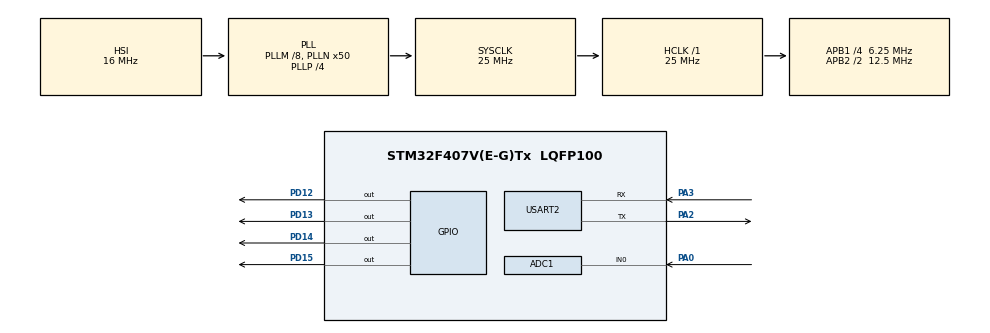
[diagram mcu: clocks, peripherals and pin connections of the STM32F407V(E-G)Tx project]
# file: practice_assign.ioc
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Mcu.Family=STM32F4
RCC.CortexFreq_Value=25000000
ADC1.Rank-0\#ChannelRegularConversion=1
NVIC.TIM6_DAC_IRQn=true\:0\:0\:false\:false\:true\:true\:true
TIM6.Prescaler=12499
VP_TIM6_VS_ClockSourceINT.Mode=Enable_Timer
RCC.APB1CLKDivider=RCC_HCLK_DIV4
NVIC.USART2_IRQn=true\:0\:0\:false\:false\:true\:true\:true
RCC.SYSCLKSource=RCC_SYSCLKSOURCE_PLLCLK
ProjectManager.StackSize=0x400
PA0-WKUP.Signal=ADCx_IN0
VP_TIM7_VS_ClockSourceINT.Mode=Enable_Timer
PD13.Signal=GPIO_Output
PA3.Mode=Asynchronous
TIM6.AutoReloadPreload=TIM_AUTORELOAD_PRELOAD_DISABLE
NVIC.ADC_IRQn=true\:0\:0\:false\:false\:true\:true\:true
ProjectManager.TargetToolchain=STM32CubeIDE
RCC.HCLKFreq_Value=25000000
RCC.APB2TimFreq_Value=25000000
RCC.LSE_VALUE=32768
RCC.AHBFreq_Value=25000000
ADC1.Channel-0\#ChannelRegularConversion=ADC_CHANNEL_0
RCC.HSE_VALUE=8000000
TIM7.Prescaler=12499
board=STM32F407G-DISC1
RCC.VCOOutputFreq_Value=100000000
RCC.APB2Freq_Value=12500000
SH.ADCx_IN0.0=ADC1_IN0,IN0
TIM6.Period=2999
Mcu.Name=STM32F407V(E-G)Tx
ADC1.SamplingTime-0\#ChannelRegularConversion=ADC_SAMPLETIME_3CYCLES
PA2.Signal=USART2_TX
PD14.Signal=GPIO_Output
RCC.48MHZClocksFreq_Value=14285714.285714285
RCC.SYSCLKFreq_VALUE=25000000
Mcu.Package=LQFP100
ADC1.master=1
USART2.VirtualMode=VM_ASYNC
PD12.Signal=GPIO_Output
ProjectManager.HeapSize=0x200
TIM7.AutoReloadPreload=TIM_AUTORELOAD_PRELOAD_DISABLE
RCC.HSI_VALUE=16000000
RCC.PLLP=RCC_PLLP_DIV4
RCC.PLLQ=7
NVIC.PriorityGroup=NVIC_PRIORITYGROUP_0
ADC1.NbrOfConversionFlag=1
RCC.APB2CLKDivider=RCC_HCLK_DIV2
RCC.PLLM=8
RCC.PLLN=50
RCC.APB1TimFreq_Value=12500000
PA2.Mode=Asynchronous
RCC.APB1Freq_Value=6250000
PD15.Signal=GPIO_Output
NVIC.TIM7_IRQn=true\:0\:0\:false\:false\:true\:true\:true
PA3.Signal=USART2_RX

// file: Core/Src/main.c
/* USER CODE BEGIN Header */
/**
  ******************************************************************************
  * @file           : main.c
  * @brief          : Main program body
  ******************************************************************************
  * @attention
  *
  * <h2><center>&copy; Copyright (c) 2022 STMicroelectronics.
  * All rights reserved.</center></h2>
  *
  * This software component is licensed by ST under BSD 3-Clause license,
  * the "License"; You may not use this file except in compliance with the
  * License. You may obtain a copy of the License at:
  *                        opensource.org/licenses/BSD-3-Clause
  *
  ******************************************************************************
  */
/* USER CODE END Header */
#include "main.h"

/* USER CODE BEGIN Includes */
#include<stdio.h>
#include<string.h>
/* USER CODE END Includes */

ADC_HandleTypeDef hadc1;

TIM_HandleTypeDef htim6;
TIM_HandleTypeDef htim7;

UART_HandleTypeDef huart2;

void SystemClock_Config(void);
static void MX_GPIO_Init(void);
static void MX_ADC1_Init(void);
static void MX_TIM6_Init(void);
static void MX_TIM7_Init(void);
static void MX_USART2_UART_Init(void);

int main(void)
{

  /* MCU Configuration--------------------------------------------------------*/

  /* Reset of all peripherals, Initializes the Flash interface and the Systick. */
  HAL_Init();

  /* Configure the system clock */
  SystemClock_Config();

  /* Initialize all configured peripherals */
  MX_GPIO_Init();
  MX_ADC1_Init();
  MX_TIM6_Init();
  MX_TIM7_Init();
  MX_USART2_UART_Init();
  /* USER CODE BEGIN 2 */
HAL_TIM_Base_Start_IT(&htim6);
HAL_TIM_Base_Start_IT(&htim7);

  /* USER CODE END 2 */

  /* Infinite loop */
  while (1)
  {

  }
}

void SystemClock_Config(void)
{
  RCC_OscInitTypeDef RCC_OscInitStruct = {0};
  RCC_ClkInitTypeDef RCC_ClkInitStruct = {0};

  /** Configure the main internal regulator output voltage
  */
  __HAL_RCC_PWR_CLK_ENABLE();
  __HAL_PWR_VOLTAGESCALING_CONFIG(PWR_REGULATOR_VOLTAGE_SCALE1);
  /** Initializes the RCC Oscillators according to the specified parameters
  * in the RCC_OscInitTypeDef structure.
  */
  RCC_OscInitStruct.OscillatorType = RCC_OSCILLATORTYPE_HSI;
  RCC_OscInitStruct.HSIState = RCC_HSI_ON;
  RCC_OscInitStruct.HSICalibrationValue = RCC_HSICALIBRATION_DEFAULT;
  RCC_OscInitStruct.PLL.PLLState = RCC_PLL_ON;
  RCC_OscInitStruct.PLL.PLLSource = RCC_PLLSOURCE_HSI;
  RCC_OscInitStruct.PLL.PLLM = 8;
  RCC_OscInitStruct.PLL.PLLN = 50;
  RCC_OscInitStruct.PLL.PLLP = RCC_PLLP_DIV4;
  RCC_OscInitStruct.PLL.PLLQ = 7;
  if (HAL_RCC_OscConfig(&RCC_OscInitStruct) != HAL_OK)
  {
    Error_Handler();
  }
  /** Initializes the CPU, AHB and APB buses clocks
  */
  RCC_ClkInitStruct.ClockType = RCC_CLOCKTYPE_HCLK|RCC_CLOCKTYPE_SYSCLK
                              |RCC_CLOCKTYPE_PCLK1|RCC_CLOCKTYPE_PCLK2;
  RCC_ClkInitStruct.SYSCLKSource = RCC_SYSCLKSOURCE_PLLCLK;
  RCC_ClkInitStruct.AHBCLKDivider = RCC_SYSCLK_DIV1;
  RCC_ClkInitStruct.APB1CLKDivider = RCC_HCLK_DIV4;
  RCC_ClkInitStruct.APB2CLKDivider = RCC_HCLK_DIV2;

  if (HAL_RCC_ClockConfig(&RCC_ClkInitStruct, FLASH_LATENCY_0) != HAL_OK)
  {
    Error_Handler();
  }
}

static void MX_ADC1_Init(void)
{

  ADC_ChannelConfTypeDef sConfig = {0};

  /** Configure the global features of the ADC (Clock, Resolution, Data Alignment and number of conversion)
  */
  hadc1.Instance = ADC1;
  hadc1.Init.ClockPrescaler = ADC_CLOCK_SYNC_PCLK_DIV2;
  hadc1.Init.Resolution = ADC_RESOLUTION_12B;
  hadc1.Init.ScanConvMode = DISABLE;
  hadc1.Init.ContinuousConvMode = DISABLE;
  hadc1.Init.DiscontinuousConvMode = DISABLE;
  hadc1.Init.ExternalTrigConvEdge = ADC_EXTERNALTRIGCONVEDGE_NONE;
  hadc1.Init.ExternalTrigConv = ADC_SOFTWARE_START;
  hadc1.Init.DataAlign = ADC_DATAALIGN_RIGHT;
  hadc1.Init.NbrOfConversion = 1;
  hadc1.Init.DMAContinuousRequests = DISABLE;
  hadc1.Init.EOCSelection = ADC_EOC_SINGLE_CONV;
  if (HAL_ADC_Init(&hadc1) != HAL_OK)
  {
    Error_Handler();
  }
  /** Configure for the selected ADC regular channel its corresponding rank in the sequencer and its sample time.
  */
  sConfig.Channel = ADC_CHANNEL_0;
  sConfig.Rank = 1;
  sConfig.SamplingTime = ADC_SAMPLETIME_3CYCLES;
  if (HAL_ADC_ConfigChannel(&hadc1, &sConfig) != HAL_OK)
  {
    Error_Handler();
  }

}

static void MX_TIM6_Init(void)
{

  TIM_MasterConfigTypeDef sMasterConfig = {0};

  htim6.Instance = TIM6;
  htim6.Init.Prescaler = 12499;
  htim6.Init.CounterMode = TIM_COUNTERMODE_UP;
  htim6.Init.Period = 2999;
  htim6.Init.AutoReloadPreload = TIM_AUTORELOAD_PRELOAD_DISABLE;
  if (HAL_TIM_Base_Init(&htim6) != HAL_OK)
  {
    Error_Handler();
  }
  sMasterConfig.MasterOutputTrigger = TIM_TRGO_RESET;
  sMasterConfig.MasterSlaveMode = TIM_MASTERSLAVEMODE_DISABLE;
  if (HAL_TIMEx_MasterConfigSynchronization(&htim6, &sMasterConfig) != HAL_OK)
  {
    Error_Handler();
  }

}

static void MX_TIM7_Init(void)
{

  TIM_MasterConfigTypeDef sMasterConfig = {0};

  htim7.Instance = TIM7;
  htim7.Init.Prescaler = 12499;
  htim7.Init.CounterMode = TIM_COUNTERMODE_UP;
  htim7.Init.Period = 65535;
  htim7.Init.AutoReloadPreload = TIM_AUTORELOAD_PRELOAD_DISABLE;
  if (HAL_TIM_Base_Init(&htim7) != HAL_OK)
  {
    Error_Handler();
  }
  sMasterConfig.MasterOutputTrigger = TIM_TRGO_RESET;
  sMasterConfig.MasterSlaveMode = TIM_MASTERSLAVEMODE_DISABLE;
  if (HAL_TIMEx_MasterConfigSynchronization(&htim7, &sMasterConfig) != HAL_OK)
  {
    Error_Handler();
  }

}

static void MX_USART2_UART_Init(void)
{

  huart2.Instance = USART2;
  huart2.Init.BaudRate = 115200;
  huart2.Init.WordLength = UART_WORDLENGTH_8B;
  huart2.Init.StopBits = UART_STOPBITS_1;
  huart2.Init.Parity = UART_PARITY_NONE;
  huart2.Init.Mode = UART_MODE_TX_RX;
  huart2.Init.HwFlowCtl = UART_HWCONTROL_NONE;
  huart2.Init.OverSampling = UART_OVERSAMPLING_16;
  if (HAL_UART_Init(&huart2) != HAL_OK)
  {
    Error_Handler();
  }

}

static void MX_GPIO_Init(void)
{
  GPIO_InitTypeDef GPIO_InitStruct = {0};

  /* GPIO Ports Clock Enable */
  __HAL_RCC_GPIOA_CLK_ENABLE();
  __HAL_RCC_GPIOD_CLK_ENABLE();

  /*Configure GPIO pin Output Level */
  HAL_GPIO_WritePin(GPIOD, GPIO_PIN_12|GPIO_PIN_13|GPIO_PIN_14|GPIO_PIN_15, GPIO_PIN_RESET);

  /*Configure GPIO pins : PD12 PD13 PD14 PD15 */
  GPIO_InitStruct.Pin = GPIO_PIN_12|GPIO_PIN_13|GPIO_PIN_14|GPIO_PIN_15;
  GPIO_InitStruct.Mode = GPIO_MODE_OUTPUT_PP;
  GPIO_InitStruct.Pull = GPIO_NOPULL;
  GPIO_InitStruct.Speed = GPIO_SPEED_FREQ_LOW;
  HAL_GPIO_Init(GPIOD, &GPIO_InitStruct);

}

/* USER CODE BEGIN 4 */
void HAL_TIM_PeriodElapsedCallback(TIM_HandleTypeDef *htim)
{
	if(htim == &htim6)
	{
		HAL_GPIO_WritePin(GPIOD, GPIO_PIN_13, GPIO_PIN_SET);
		HAL_ADC_Start_IT(&hadc1);
	}
	else if(htim == &htim7)
	{
		HAL_GPIO_TogglePin(GPIOD, GPIO_PIN_12);
	}
}

void HAL_ADC_ConvCpltCallback(ADC_HandleTypeDef* hadc)
{
	char str[80];
	int len;
	uint32_t result;

	if(hadc == &hadc1)
	{
		HAL_GPIO_WritePin(GPIOD, GPIO_PIN_14, GPIO_PIN_SET);
		result = HAL_ADC_GetValue(hadc);

		HAL_ADC_Stop_IT(hadc);

		len = sprintf(str,"ADC = %d\r\n",(int)result);

		HAL_UART_Transmit_IT(&huart2, (uint8_t*)str,len);
	}
}

void HAL_UART_TxCpltCallback(UART_HandleTypeDef *huart)
{
	HAL_GPIO_TogglePin(GPIOD, GPIO_PIN_15);

	HAL_GPIO_WritePin(GPIOD, GPIO_PIN_13, GPIO_PIN_RESET);
	HAL_GPIO_WritePin(GPIOD, GPIO_PIN_14, GPIO_PIN_RESET);
}

/* USER CODE END 4 */

void Error_Handler(void)
{
  __disable_irq();
  while (1)
  {
  }
}

/************************ (C) COPYRIGHT STMicroelectronics *****END OF FILE****/
